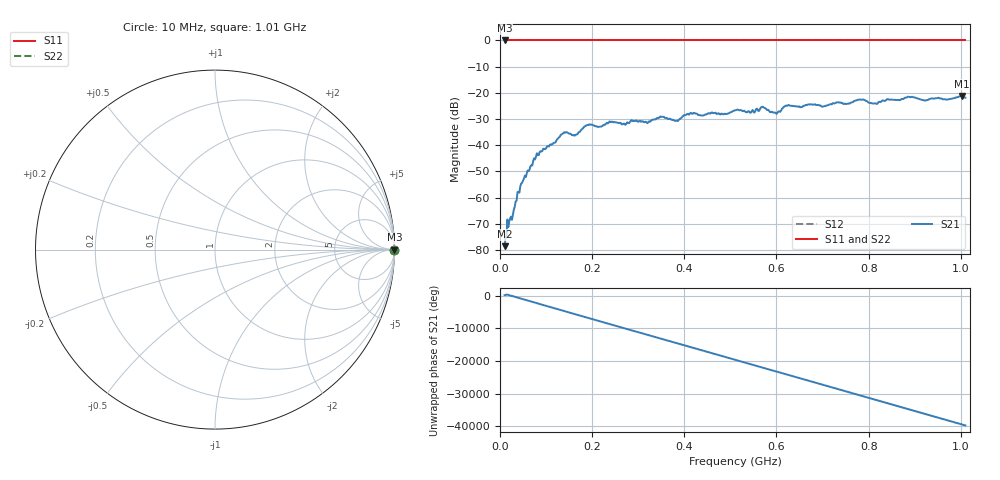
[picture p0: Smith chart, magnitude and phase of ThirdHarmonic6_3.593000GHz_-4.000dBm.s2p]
! 8/17/2025 11:57:33 AM
! C:\ANRITSUVNA\TEMP\TEMP.S2P
! CHANNEL.1
! TR.MEASUREMENT
! RAW.DATA
! RF.CORRECTION.OFF
! AVERAGING.OFF
! IF.BANDWIDTH: 5KHZ
! SWEEPTYPE:  FREQ.SWEEP(Linear)
! Reference Plane Port Info
! PORT:  PORT1  PORT2
! DISTANCE:  0  m  0  m
! TIME:  0  s  0  s
! PHASE.OFFSET:  0  deg.  0  deg.
! LOSS:  0  dB  0  dB
! REF.LOSS:  0  dB  0  dB
! REF.FREQ:  0  Hz  0  Hz
! Power Info
! POWER:  -20  dBm  -20  dBm
! EFF.POWER:  -20  dBm  -20  dBm
! SOURCE.ATTEN:  0  dB  0  dB
! TEST.ATTEN:  0  dB  0  dB
# GHZ S RI R 50.0
! FREQ.GHZ  S11RE  S11IM  S21RE  S21IM  S12RE  S12IM  S22RE  S22IM
!; PortSelection: Port_12
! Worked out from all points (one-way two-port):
!   501 points, 10 MHz to 1.01 GHz, reference 50 ohm
!   highest |S21| = -21.23 dB at 1.002 GHz (marker M1); lowest = -78.6 dB at 10 MHz (marker M2)
!   lowest |S11| = 0.0 dB at 10 MHz (marker M3)
!   |S11| at or under -10 dB: nowhere
!   |S22| runs from 0.0 to 0.0 dB; largest |S21 - S12| = 1.1
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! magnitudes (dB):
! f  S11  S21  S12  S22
! 10 MHz  0.0  -78.6  0.0  0.0
! 20 MHz  0.0  -69.2  0.0  0.0
! 28 MHz  0.0  -66.6  0.0  0.0
! 42 MHz  0.0  -58.2  0.0  0.0
! 76 MHz  0.0  -45.4  0.0  0.0
! 136 MHz  0.0  -35.6  0.0  0.0
! 164 MHz  0.0  -36.0  0.0  0.0
! 178 MHz  0.0  -33.8  0.0  0.0
! 194 MHz  0.0  -32.0  0.0  0.0
! 318 MHz  0.0  -31.3  0.0  0.0
! 344 MHz  0.0  -29.7  0.0  0.0
! 382 MHz  0.0  -30.7  0.0  0.0
! 410 MHz  0.0  -28.3  0.0  0.0
! 510 MHz  0.0  -26.7  0.0  0.0
! 548 MHz  0.0  -26.5  0.0  0.0
! 570 MHz  0.0  -25.3  0.0  0.0
! 598 MHz  0.0  -27.6  0.0  0.0
! 622 MHz  0.0  -24.9  0.0  0.0
! 678 MHz  0.0  -24.5  0.0  0.0
! 844 MHz  0.0  -22.6  0.0  0.0
! 1.002 GHz  0.0  -21.2  0.0  0.0
! 1.01 GHz  0.0  -21.9  0.0  0.0
